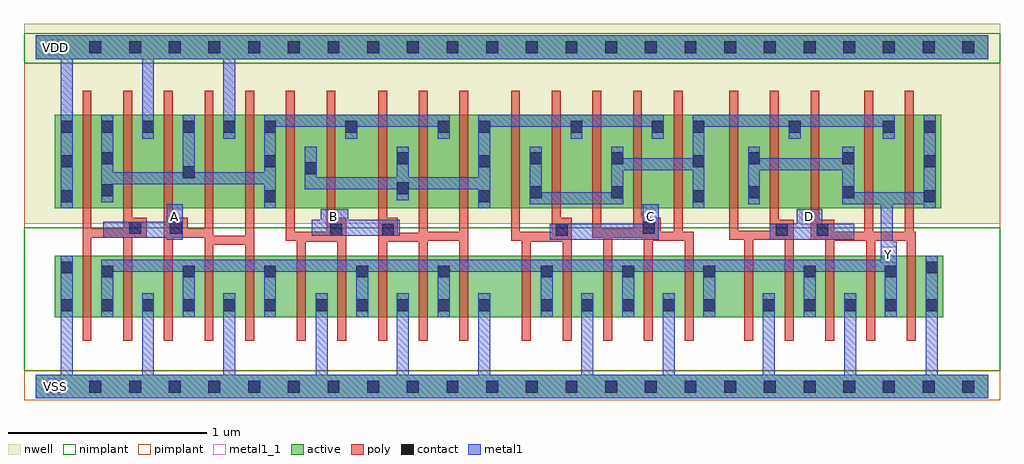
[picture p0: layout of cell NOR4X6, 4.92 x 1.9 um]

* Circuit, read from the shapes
.subckt NOR4X6 A B C D VDD VSS Y
M1 Y A VSS VSS nfet w=0.31u l=0.045u m=5
M2 VSS B Y VSS nfet w=0.31u l=0.045u m=5
M3 Y C VSS VSS nfet w=0.31u l=0.045u m=5
M4 VSS D Y VSS nfet w=0.31u l=0.045u m=5
M5 n1 A VDD VDD pfet w=0.47u l=0.045u m=5
M6 n2 B n1 VDD pfet w=0.47u l=0.045u m=5
M7 n3 C n2 VDD pfet w=0.47u l=0.045u m=5
M8 Y D n3 VDD pfet w=0.47u l=0.045u m=5
.ends

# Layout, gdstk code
import gdstk
lib = gdstk.Library(unit=1e-6, precision=5e-10)
def R(c, l, rs):  # rectangles x0, y0, x1, y1
    for r in rs: c.add(gdstk.rectangle(r[:2], r[2:], *l))
def A(c, l, x, y, w, h, nx, ny, dx, dy):  # array of equal rectangles
    R(c, l, [(x+i*dx, y+j*dy, x+i*dx+w, y+j*dy+h) for i in range(nx) for j in range(ny)])
def P(c, l, *ps):  # polygons
    for p in ps: c.add(gdstk.Polygon(p, *l))
active = (1, 0)
nwell = (2, 0)
poly = (3, 0)
nimplant = (4, 0)
pimplant = (5, 0)
contact = (6, 0)
metal1 = (7, 0)
metal1_1 = (7, 1)

nor4x6 = lib.new_cell('NOR4X6')
R(nor4x6, active, [(0,-0.06,4.8,0.06), (0.095,0.35,4.575,0.66), (0.095,0.9,4.565,1.37), (0,1.65,4.8,1.77)])
R(nor4x6, nwell, [(-0.06,0.82,4.86,1.83)])
P(nor4x6, poly, [(0.235,1.49),(0.28,1.49),(0.28,0.795),(0.44,0.795),(0.44,1.49),(0.485,1.49),(0.485,0.85),(0.56,0.85),(0.56,0.75),(0.485,0.75),(0.485,0.23),(0.44,0.23),(0.44,0.75),(0.28,0.75),(0.28,0.23),(0.235,0.23)],
  [(0.645,1.49),(0.69,1.49),(0.69,0.85),(0.765,0.85),(0.765,0.795),(0.85,0.795),(0.85,1.49),(0.895,1.49),(0.895,0.76),(1.055,0.76),(1.055,1.49),(1.1,1.49),(1.1,0.23),(1.055,0.23),(1.055,0.715),(0.895,0.715),(0.895,0.23),(0.85,0.23),(0.85,0.75),(0.69,0.75),(0.69,0.23),(0.645,0.23)],
  [(1.26,1.49),(1.305,1.49),(1.305,0.78),(1.465,0.78),(1.465,1.49),(1.51,1.49),(1.51,0.85),(1.565,0.85),(1.565,0.23),(1.52,0.23),(1.52,0.73),(1.36,0.73),(1.36,0.23),(1.315,0.23),(1.315,0.735),(1.26,0.735)],
  [(1.725,1.49),(1.77,1.49),(1.77,0.85),(1.825,0.85),(1.825,0.775),(1.93,0.775),(1.93,1.49),(1.975,1.49),(1.975,0.78),(2.135,0.78),(2.135,1.49),(2.18,1.49),(2.18,0.23),(2.135,0.23),(2.135,0.735),(1.975,0.735),(1.975,0.23),(1.93,0.23),(1.93,0.73),(1.77,0.73),(1.77,0.23),(1.725,0.23)],
  [(2.395,1.49),(2.44,1.49),(2.44,0.78),(2.6,0.78),(2.6,1.49),(2.645,1.49),(2.645,0.85),(2.7,0.85),(2.7,0.23),(2.655,0.23),(2.655,0.73),(2.495,0.73),(2.495,0.23),(2.45,0.23),(2.45,0.735),(2.395,0.735)],
  [(2.805,1.49),(2.85,1.49),(2.85,0.795),(3.01,0.795),(3.01,1.49),(3.055,1.49),(3.055,0.85),(3.15,0.85),(3.15,0.78),(3.215,0.78),(3.215,1.49),(3.26,1.49),(3.26,0.78),(3.315,0.78),(3.315,0.23),(3.27,0.23),(3.27,0.735),(3.11,0.735),(3.11,0.23),(3.065,0.23),(3.065,0.75),(2.905,0.75),(2.905,0.23),(2.86,0.23),(2.86,0.75),(2.805,0.75)],
  [(3.495,1.49),(3.54,1.49),(3.54,0.785),(3.7,0.785),(3.7,1.49),(3.745,1.49),(3.745,0.84),(3.82,0.84),(3.82,0.23),(3.775,0.23),(3.775,0.74),(3.615,0.74),(3.615,0.23),(3.57,0.23),(3.57,0.74),(3.495,0.74)],
  [(3.905,1.49),(3.95,1.49),(3.95,0.84),(4.025,0.84),(4.025,0.78),(4.175,0.78),(4.175,1.49),(4.22,1.49),(4.22,0.78),(4.38,0.78),(4.38,1.49),(4.425,1.49),(4.425,0.78),(4.435,0.78),(4.435,0.23),(4.39,0.23),(4.39,0.735),(4.23,0.735),(4.23,0.23),(4.185,0.23),(4.185,0.735),(4.025,0.735),(4.025,0.23),(3.98,0.23),(3.98,0.74),(3.905,0.74)])
R(nor4x6, nimplant, [(-0.06,0.08,4.86,0.8), (-0.06,1.63,4.86,1.78)])
R(nor4x6, pimplant, [(-0.06,-0.07,4.86,0.08), (-0.06,0.8,4.86,1.63)])
A(nor4x6, contact, 0.07, -0.03, 0.06, 0.06, 24, 2, 0.2, 1.71)
A(nor4x6, contact, 0.125, 0.38, 0.06, 0.06, 6, 2, 0.205, 0.9)
A(nor4x6, contact, 1.41, 0.38, 0.06, 0.06, 5, 1, 0.205, 0)
A(nor4x6, contact, 2.545, 0.38, 0.06, 0.06, 5, 1, 0.205, 0)
A(nor4x6, contact, 3.665, 0.38, 0.06, 0.06, 5, 1, 0.205, 0)
A(nor4x6, contact, 0.33, 0.55, 0.06, 0.06, 3, 1, 0.41, 0)
A(nor4x6, contact, 2.545, 0.55, 0.06, 0.06, 3, 1, 0.41, 0)
A(nor4x6, contact, 1.15, 0.93, 0.06, 0.06, 3, 2, 1.08, 0.175)
A(nor4x6, contact, 4.475, 0.93, 0.06, 0.06, 1, 3, 0, 0.175)
R(nor4x6, contact, [(1.615,0.55,1.675,0.61), (2.025,0.55,2.085,0.61), (3.87,0.55,3.93,0.61), (4.28,0.55,4.34,0.61), (0.125,0.57,0.185,0.63), (4.485,0.57,4.545,0.63), (1.485,0.76,1.545,0.82), (1.745,0.76,1.805,0.82), (2.62,0.76,2.68,0.82), (3.73,0.76,3.79,0.82), (3.935,0.76,3.995,0.82), (0.47,0.77,0.53,0.83), (0.675,0.77,0.735,0.83), (3.06,0.77,3.12,0.83), (0.125,0.93,0.185,0.99), (2.49,0.95,2.55,1.01), (2.9,0.95,2.96,1.01), (3.59,0.95,3.65,1.01), (4.065,0.95,4.125,1.01), (0.33,0.96,0.39,1.02), (1.82,0.97,1.88,1.03), (0.74,1.05,0.8,1.11), (1.355,1.07,1.415,1.13), (0.125,1.105,0.185,1.165), (0.33,1.12,0.39,1.18), (1.82,1.12,1.88,1.18), (2.49,1.12,2.55,1.18), (2.9,1.12,2.96,1.18), (3.59,1.12,3.65,1.18), (4.065,1.12,4.125,1.18), (1.56,1.28,1.62,1.34), (2.025,1.28,2.085,1.34), (2.23,1.28,2.29,1.34), (2.695,1.28,2.755,1.34), (3.105,1.28,3.165,1.34), (3.31,1.28,3.37,1.34), (3.795,1.28,3.855,1.34), (4.27,1.28,4.33,1.34)])
P(nor4x6, metal1, [(0,1.77),(4.8,1.77),(4.8,1.65),(1.005,1.65),(1.005,1.25),(0.945,1.25),(0.945,1.65),(0.595,1.65),(0.595,1.25),(0.535,1.25),(0.535,1.65),(0.185,1.65),(0.185,0.9),(0.125,0.9),(0.125,1.65),(0,1.65)],
  [(0.33,1.37),(0.39,1.37),(0.39,1.08),(0.74,1.08),(0.74,1.37),(0.8,1.37),(0.8,1.08),(1.15,1.08),(1.15,1.37),(2.085,1.37),(2.085,1.25),(2.025,1.25),(2.025,1.31),(1.62,1.31),(1.62,1.25),(1.56,1.25),(1.56,1.31),(1.21,1.31),(1.21,0.9),(1.15,0.9),(1.15,1.02),(0.39,1.02),(0.39,0.93),(0.33,0.93)],
  [(2.23,1.37),(3.165,1.37),(3.165,1.25),(3.105,1.25),(3.105,1.31),(2.755,1.31),(2.755,1.25),(2.695,1.25),(2.695,1.31),(2.29,1.31),(2.29,0.9),(2.23,0.9),(2.23,0.995),(1.88,0.995),(1.88,0.94),(1.82,0.94),(1.82,0.995),(1.355,0.995),(1.355,1.21),(1.415,1.21),(1.415,1.055),(1.82,1.055),(1.82,1.21),(1.88,1.21),(1.88,1.055),(2.23,1.055)],
  [(0.66,0.92),(0.74,0.92),(0.74,0.74),(0.66,0.74),(0.66,0.75),(0.34,0.75),(0.34,0.83),(0.66,0.83)],
  [(3.31,1.37),(4.33,1.37),(4.33,1.25),(4.27,1.25),(4.27,1.31),(3.855,1.31),(3.855,1.25),(3.795,1.25),(3.795,1.31),(3.37,1.31),(3.37,0.9),(3.31,0.9),(3.31,1.09),(2.96,1.09),(2.96,0.92),(2.49,0.92),(2.49,1.21),(2.55,1.21),(2.55,0.98),(2.9,0.98),(2.9,1.21),(2.96,1.21),(2.96,1.15),(3.31,1.15)],
  [(3.06,0.92),(3.14,0.92),(3.14,0.74),(2.59,0.74),(2.59,0.82),(3.06,0.82)],
  [(3.59,1.21),(3.65,1.21),(3.65,1.15),(4.065,1.15),(4.065,1.21),(4.125,1.21),(4.125,0.98),(4.475,0.98),(4.475,1.37),(4.535,1.37),(4.535,0.9),(4.475,0.9),(4.475,0.92),(4.32,0.92),(4.32,0.73),(4.34,0.73),(4.34,0.35),(4.28,0.35),(4.28,0.58),(3.93,0.58),(3.93,0.35),(3.87,0.35),(3.87,0.58),(3.425,0.58),(3.425,0.35),(3.365,0.35),(3.365,0.58),(3.015,0.58),(3.015,0.35),(2.955,0.35),(2.955,0.58),(2.605,0.58),(2.605,0.35),(2.545,0.35),(2.545,0.58),(2.085,0.58),(2.085,0.35),(2.025,0.35),(2.025,0.58),(1.675,0.58),(1.675,0.35),(1.615,0.35),(1.615,0.58),(1.21,0.58),(1.21,0.35),(1.15,0.35),(1.15,0.58),(0.8,0.58),(0.8,0.35),(0.74,0.35),(0.74,0.58),(0.39,0.58),(0.39,0.35),(0.33,0.35),(0.33,0.64),(4.26,0.64),(4.26,0.92),(4.065,0.92),(4.065,1.09),(3.65,1.09),(3.65,0.92),(3.59,0.92)],
  [(1.435,0.895),(1.575,0.895),(1.575,0.84),(1.835,0.84),(1.835,0.76),(1.39,0.76),(1.39,0.84),(1.435,0.84)],
  [(3.835,0.895),(3.965,0.895),(3.965,0.82),(4.125,0.82),(4.125,0.74),(3.7,0.74),(3.7,0.82),(3.835,0.82)],
  [(0.125,0.66),(0.185,0.66),(0.185,0.06),(0.535,0.06),(0.535,0.47),(0.595,0.47),(0.595,0.06),(0.945,0.06),(0.945,0.47),(1.005,0.47),(1.005,0.06),(1.41,0.06),(1.41,0.47),(1.47,0.47),(1.47,0.06),(1.82,0.06),(1.82,0.47),(1.88,0.47),(1.88,0.06),(2.23,0.06),(2.23,0.47),(2.29,0.47),(2.29,0.06),(2.75,0.06),(2.75,0.47),(2.81,0.47),(2.81,0.06),(3.16,0.06),(3.16,0.47),(3.22,0.47),(3.22,0.06),(3.665,0.06),(3.665,0.47),(3.725,0.47),(3.725,0.06),(4.075,0.06),(4.075,0.47),(4.135,0.47),(4.135,0.06),(4.485,0.06),(4.485,0.66),(4.545,0.66),(4.545,0.06),(4.8,0.06),(4.8,-0.06),(0,-0.06),(0,0.06),(0.125,0.06)])
R(nor4x6, metal1_1, [(0.06,-0.04,0.14,0.04), (4.26,0.625,4.34,0.705), (0.66,0.815,0.74,0.895), (1.46,0.815,1.54,0.895), (3.06,0.815,3.14,0.895), (3.86,0.815,3.94,0.895), (0.06,1.67,0.14,1.75)])
nor4x6.add(gdstk.Label('Y', (4.3,0.665), layer=7, texttype=1))
nor4x6.add(gdstk.Label('A', (0.7,0.855), layer=7, texttype=1))
nor4x6.add(gdstk.Label('B', (1.5,0.855), layer=7, texttype=1))
nor4x6.add(gdstk.Label('C', (3.1,0.855), layer=7, texttype=1))
nor4x6.add(gdstk.Label('D', (3.9,0.855), layer=7, texttype=1))
nor4x6.add(gdstk.Label('VDD', (0.1,1.71), layer=7, texttype=1))
nor4x6.add(gdstk.Label('VSS', (0.1,0), layer=7, texttype=1))
nor4x6.add(gdstk.Label('NOR4X6', (0,0), layer=63, texttype=0))

lib.write_gds('NOR4X6.gds')
